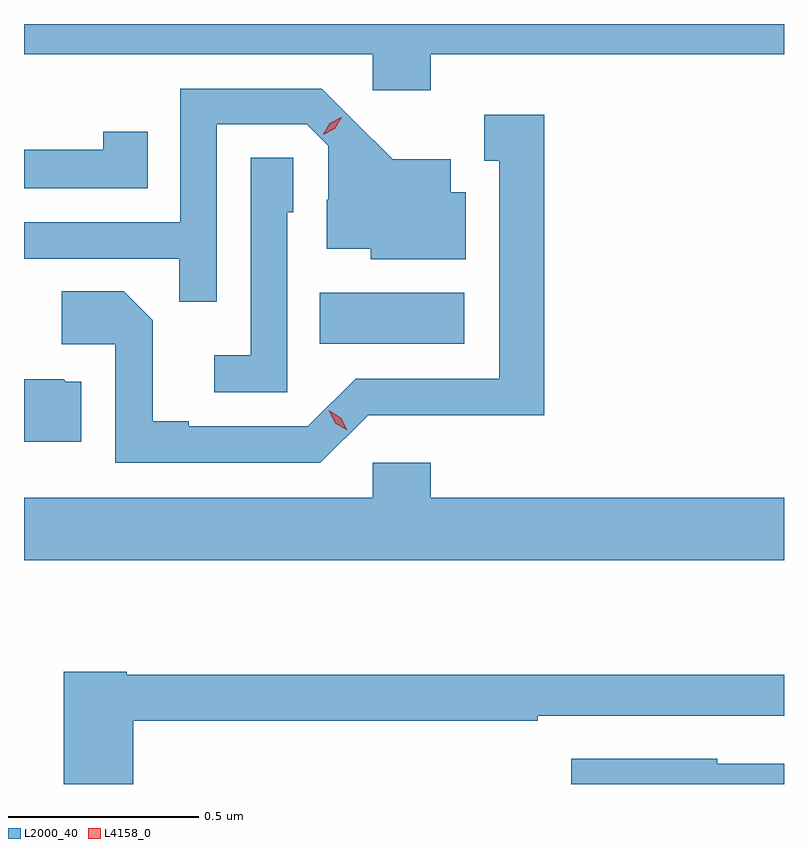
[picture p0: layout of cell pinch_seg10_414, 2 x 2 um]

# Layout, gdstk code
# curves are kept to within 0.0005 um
import gdstk
lib = gdstk.Library(unit=1e-6, precision=1e-09)
def R(c, l, rs):  # rectangles x0, y0, x1, y1
    for r in rs: c.add(gdstk.rectangle(r[:2], r[2:], *l))
def P(c, l, *ps):  # polygons
    for p in ps: c.add(gdstk.Polygon(p, *l))
L2000_40 = (2000, 40)
L4158_0 = (4158, 0)

pinch_seg10_414 = lib.new_cell('pinch_seg10_414')
R(pinch_seg10_414, L2000_40, [(612.226,1256.93,612.607,1257.064)])
P(pinch_seg10_414, L2000_40, [(612.518,1257.692),(613.448,1257.692),(613.448,1257.771),(611.448,1257.771),(611.448,1257.692),(612.366,1257.692),(612.366,1257.597),(612.518,1257.597)],
  [(611.955,1257.507),(612.192,1257.507),(612.249,1257.45),(612.249,1257.308),(612.245,1257.308),(612.245,1257.179),(612.36,1257.179),(612.36,1257.152),(612.61,1257.152),(612.61,1257.328),(612.571,1257.328),(612.571,1257.415),(612.419,1257.415),(612.232,1257.6),(611.859,1257.6),(611.859,1257.249),(611.448,1257.249),(611.448,1257.153),(611.857,1257.153),(611.857,1257.04),(611.955,1257.04)],
  [(612.354,1256.742),(612.576,1256.742),(612.576,1256.741),(612.817,1256.741),(612.817,1257.532),(612.659,1257.532),(612.659,1257.411),(612.698,1257.411),(612.698,1256.838),(612.321,1256.838),(612.195,1256.712),(611.881,1256.712),(611.881,1256.725),(611.787,1256.725),(611.787,1256.992),(611.711,1257.068),(611.547,1257.068),(611.547,1256.928),(611.688,1256.928),(611.688,1256.616),(612.228,1256.616)],
  [(611.774,1257.487),(611.656,1257.487),(611.656,1257.44),(611.448,1257.44),(611.448,1257.339),(611.774,1257.339)],
  [(612.141,1257.276),(612.156,1257.276),(612.156,1257.419),(612.045,1257.419),(612.045,1256.899),(611.949,1256.899),(611.949,1256.802),(612.141,1256.802)],
  [(611.599,1256.83),(611.558,1256.83),(611.552,1256.836),(611.448,1256.836),(611.448,1256.672),(611.599,1256.672)],
  [(613.448,1256.524),(612.518,1256.524),(612.518,1256.617),(612.366,1256.617),(612.366,1256.524),(611.448,1256.524),(611.448,1256.36),(613.448,1256.36)],
  [(611.735,1255.938),(612.8,1255.938),(612.8,1255.95),(613.448,1255.95),(613.448,1256.059),(611.718,1256.059),(611.718,1256.067),(611.552,1256.067),(611.552,1255.771),(611.735,1255.771)],
  [(613.448,1255.824),(613.272,1255.824),(613.272,1255.837),(612.888,1255.837),(612.888,1255.771),(613.448,1255.771)])
P(pinch_seg10_414, L4158_0, [(612.299,1256.702),(612.267,1256.721),(612.25,1256.754),(612.25,1256.754),(612.25,1256.754),(612.282,1256.735),(612.299,1256.702),(612.299,1256.702)],
  [(612.235,1257.48),(612.235,1257.481),(612.253,1257.51),(612.283,1257.525),(612.284,1257.525),(612.284,1257.525),(612.266,1257.495),(612.235,1257.48)])

lib.write_gds('pinch_seg10_414.gds')
